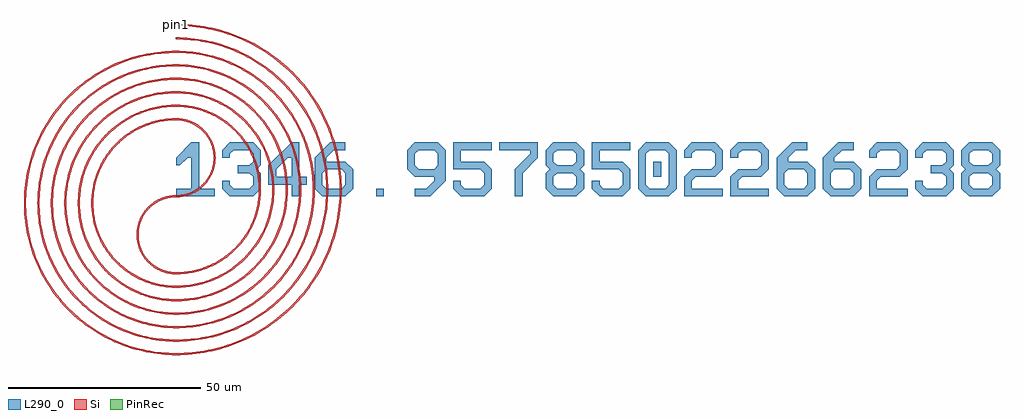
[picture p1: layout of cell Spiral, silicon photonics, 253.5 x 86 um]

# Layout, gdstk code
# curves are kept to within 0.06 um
import gdstk
lib = gdstk.Library(unit=1e-6, precision=1e-09)
def R(c, l, rs):  # rectangles x0, y0, x1, y1
    for r in rs: c.add(gdstk.rectangle(r[:2], r[2:], *l))
def P(c, l, *ps):  # polygons
    for p in ps: c.add(gdstk.Polygon(p, *l))
Si = (1, 0)
PinRec = (1, 10)
L290_0 = (290, 0)

spiral = lib.new_cell('Spiral')
P(spiral, Si, [(0,-0.25),(0,0.25),(1.194,0.323),(2.369,0.542),(3.509,0.903),(4.384,1.291),(5.808,2.169),(7.061,3.277),(8.237,4.784),(9.097,6.491),(9.563,8.098),(9.75,10),(9.563,11.902),(9.097,13.509),(8.237,15.216),(7.061,16.723),(5.808,17.831),(4.384,18.709),(3.509,19.097),(2.369,19.458),(1.194,19.677),(0,19.75),(0,20.25),(1.005,20.201),(2,20.053),(2.975,19.809),(3.923,19.47),(5.695,18.523),(7.248,17.248),(8.523,15.695),(9.47,13.923),(9.809,12.975),(10.053,12),(10.201,11.005),(10.25,10),(10.201,8.995),(10.053,8),(9.809,7.025),(9.47,6.077),(8.523,4.305),(7.248,2.752),(5.695,1.477),(3.923,0.53),(2.975,0.191),(2,-0.053),(1.005,-0.201)],
  [(0,-20.25),(-1.005,-20.201),(-2,-20.053),(-3.923,-19.47),(-5.695,-18.523),(-7.248,-17.248),(-8.523,-15.695),(-9.47,-13.923),(-10.053,-12),(-10.201,-11.005),(-10.25,-10),(-10.201,-8.995),(-10.001,-7.754),(-9.371,-5.846),(-8.792,-4.73),(-8.233,-3.894),(-7.424,-2.932),(-6.695,-2.239),(-5.052,-1.082),(-4.154,-0.629),(-3.215,-0.267),(-1.504,0.139),(0.956,0.297),(2.136,0.487),(3.509,0.903),(4.806,1.517),(6.185,2.463),(7.537,3.815),(8.599,5.404),(9.258,6.942),(9.563,8.098),(9.724,9.283),(9.747,10.239),(9.644,11.431),(9.458,12.369),(9.097,13.509),(8.599,14.596),(7.971,15.614),(7.224,16.548),(6.548,17.224),(5.013,18.363),(3.951,18.914),(2.6,19.397),(1.194,19.677),(0,19.75),(0,20.25),(1.005,20.201),(2,20.053),(3.923,19.47),(5.695,18.523),(7.248,17.248),(8.523,15.695),(9.47,13.923),(10.053,12),(10.201,11.005),(10.25,10),(10.201,8.995),(10.001,7.754),(9.371,5.846),(8.792,4.73),(8.233,3.894),(7.424,2.932),(6.695,2.239),(5.052,1.082),(4.154,0.629),(3.215,0.267),(1.504,-0.139),(-0.956,-0.297),(-2.136,-0.487),(-3.509,-0.903),(-4.806,-1.517),(-6.185,-2.463),(-7.537,-3.815),(-8.599,-5.404),(-9.258,-6.942),(-9.563,-8.098),(-9.724,-9.283),(-9.747,-10.239),(-9.644,-11.431),(-9.458,-12.369),(-9.097,-13.509),(-8.599,-14.596),(-7.971,-15.614),(-7.224,-16.548),(-6.548,-17.224),(-5.013,-18.363),(-3.951,-18.914),(-2.6,-19.397),(-1.194,-19.677),(0,-19.75)],
  [(0,-20.25),(0,-19.75),(2.632,-19.588),(4.711,-19.228),(6.744,-18.665),(8.713,-17.906),(10.597,-16.957),(11.945,-16.127),(13.639,-14.87),(15.203,-13.453),(16.62,-11.889),(17.877,-10.195),(18.961,-8.385),(19.863,-6.478),(20.574,-4.491),(21.087,-2.444),(21.396,-0.357),(21.5,1.75),(21.396,3.857),(21.087,5.944),(20.574,7.991),(19.863,9.978),(18.961,11.885),(17.877,13.695),(16.62,15.389),(15.203,16.953),(13.639,18.37),(11.945,19.627),(10.597,20.457),(8.713,21.406),(6.744,22.165),(4.711,22.728),(2.632,23.088),(0,23.25),(0,23.75),(2.156,23.644),(4.292,23.327),(6.386,22.803),(8.419,22.075),(10.371,21.152),(12.223,20.042),(13.957,18.756),(15.556,17.306),(17.006,15.707),(18.292,13.973),(19.402,12.121),(20.325,10.169),(21.053,8.136),(21.577,6.042),(21.894,3.906),(22,1.75),(21.894,-0.406),(21.577,-2.542),(21.053,-4.636),(20.325,-6.669),(19.402,-8.621),(18.292,-10.473),(17.006,-12.207),(15.556,-13.806),(13.957,-15.256),(12.223,-16.542),(10.371,-17.652),(8.419,-18.575),(6.386,-19.303),(4.292,-19.827),(2.156,-20.144)],
  [(0,-23.75),(-2.156,-23.644),(-4.292,-23.327),(-6.386,-22.803),(-8.419,-22.075),(-10.371,-21.152),(-12.223,-20.042),(-13.957,-18.756),(-15.556,-17.306),(-17.006,-15.707),(-18.292,-13.973),(-19.402,-12.121),(-20.325,-10.169),(-21.053,-8.136),(-21.577,-6.042),(-21.894,-3.906),(-22,-1.75),(-21.894,0.406),(-21.577,2.542),(-21.053,4.636),(-20.325,6.669),(-19.402,8.621),(-18.292,10.473),(-17.006,12.207),(-15.556,13.806),(-13.957,15.256),(-12.223,16.542),(-10.371,17.652),(-8.419,18.575),(-6.386,19.303),(-4.292,19.827),(-2.156,20.144),(0,20.25),(0,19.75),(-2.632,19.588),(-4.711,19.228),(-6.744,18.665),(-8.713,17.906),(-10.597,16.957),(-11.945,16.127),(-13.639,14.87),(-15.203,13.453),(-16.62,11.889),(-17.877,10.195),(-18.961,8.385),(-19.863,6.478),(-20.574,4.491),(-21.087,2.444),(-21.396,0.357),(-21.5,-1.75),(-21.396,-3.857),(-21.087,-5.944),(-20.574,-7.991),(-19.863,-9.978),(-18.961,-11.885),(-17.877,-13.695),(-16.62,-15.389),(-15.203,-16.953),(-13.639,-18.37),(-11.945,-19.627),(-10.597,-20.457),(-8.713,-21.406),(-6.744,-22.165),(-4.711,-22.728),(-2.632,-23.088),(0,-23.25)],
  [(0,-23.75),(0,-23.25),(2.45,-23.13),(5.478,-22.643),(7.842,-21.988),(10.131,-21.105),(12.322,-20.002),(14.395,-18.69),(15.86,-17.575),(17.678,-15.928),(19.325,-14.11),(20.787,-12.139),(22.048,-10.035),(23.097,-7.817),(23.924,-5.507),(24.52,-3.127),(24.88,-0.7),(25,1.75),(24.88,4.2),(24.52,6.627),(23.924,9.007),(23.097,11.317),(22.048,13.535),(20.787,15.639),(19.325,17.61),(17.678,19.428),(15.86,21.075),(14.395,22.19),(12.322,23.502),(10.131,24.605),(7.842,25.488),(5.478,26.143),(2.45,26.63),(0,26.75),(0,27.25),(2.499,27.127),(4.975,26.76),(7.402,26.152),(9.758,25.309),(12.021,24.239),(14.167,22.952),(16.177,21.462),(18.031,19.781),(19.712,17.927),(21.202,15.917),(22.489,13.771),(23.559,11.508),(24.402,9.152),(25.01,6.725),(25.377,4.249),(25.5,1.75),(25.377,-0.749),(25.01,-3.225),(24.402,-5.652),(23.559,-8.008),(22.489,-10.271),(21.202,-12.417),(19.712,-14.427),(18.031,-16.281),(16.177,-17.962),(14.167,-19.452),(12.021,-20.739),(9.758,-21.809),(7.402,-22.652),(4.975,-23.26),(2.499,-23.627)],
  [(0,-27.25),(-2.499,-27.127),(-4.975,-26.76),(-7.402,-26.152),(-9.758,-25.309),(-12.021,-24.239),(-14.167,-22.952),(-16.177,-21.462),(-18.031,-19.781),(-19.712,-17.927),(-21.202,-15.917),(-22.489,-13.771),(-23.559,-11.508),(-24.402,-9.152),(-25.01,-6.725),(-25.377,-4.249),(-25.5,-1.75),(-25.377,0.749),(-25.01,3.225),(-24.402,5.652),(-23.559,8.008),(-22.489,10.271),(-21.202,12.417),(-19.712,14.427),(-18.031,16.281),(-16.177,17.962),(-14.167,19.452),(-12.021,20.739),(-9.758,21.809),(-7.402,22.652),(-4.975,23.26),(-2.499,23.627),(0,23.75),(0,23.25),(-2.45,23.13),(-5.478,22.643),(-7.842,21.988),(-10.131,21.105),(-12.322,20.002),(-14.395,18.69),(-15.86,17.575),(-17.678,15.928),(-19.325,14.11),(-20.787,12.139),(-22.048,10.035),(-23.097,7.817),(-23.924,5.507),(-24.52,3.127),(-24.88,0.7),(-25,-1.75),(-24.88,-4.2),(-24.52,-6.627),(-23.924,-9.007),(-23.097,-11.317),(-22.048,-13.535),(-20.787,-15.639),(-19.325,-17.61),(-17.678,-19.428),(-15.86,-21.075),(-14.395,-22.19),(-12.322,-23.502),(-10.131,-24.605),(-7.842,-25.488),(-5.478,-26.143),(-2.45,-26.63),(0,-26.75)],
  [(0,-27.25),(0,-26.75),(1.398,-26.716),(3.489,-26.536),(6.244,-26.058),(8.94,-25.312),(11.549,-24.305),(13.435,-23.385),(15.834,-21.947),(18.08,-20.281),(20.153,-18.403),(22.031,-16.33),(23.697,-14.084),(25.135,-11.685),(26.331,-9.156),(27.273,-6.523),(27.952,-3.81),(28.363,-1.043),(28.5,1.75),(28.363,4.543),(27.952,7.31),(27.273,10.023),(26.331,12.656),(25.135,15.185),(23.697,17.584),(22.031,19.83),(20.153,21.903),(18.08,23.781),(15.834,25.447),(13.435,26.885),(11.549,27.805),(8.94,28.812),(6.244,29.558),(3.489,30.036),(1.398,30.216),(0,30.25),(0,30.75),(2.842,30.61),(5.658,30.193),(8.418,29.501),(11.098,28.543),(13.671,27.326),(16.112,25.863),(18.397,24.167),(20.506,22.256),(22.417,20.147),(24.113,17.862),(25.576,15.421),(26.793,12.848),(27.751,10.168),(28.443,7.408),(28.86,4.592),(29,1.75),(28.86,-1.092),(28.443,-3.908),(27.751,-6.668),(26.793,-9.348),(25.576,-11.921),(24.113,-14.362),(22.417,-16.647),(20.506,-18.756),(18.397,-20.667),(16.112,-22.363),(13.671,-23.826),(11.098,-25.043),(8.418,-26.001),(5.658,-26.693),(2.842,-27.11)],
  [(0,-30.75),(-2.842,-30.61),(-5.658,-30.193),(-8.418,-29.501),(-11.098,-28.543),(-13.671,-27.326),(-16.112,-25.863),(-18.397,-24.167),(-20.506,-22.256),(-22.417,-20.147),(-24.113,-17.862),(-25.576,-15.421),(-26.793,-12.848),(-27.751,-10.168),(-28.443,-7.408),(-28.86,-4.592),(-29,-1.75),(-28.86,1.092),(-28.443,3.908),(-27.751,6.668),(-26.793,9.348),(-25.576,11.921),(-24.113,14.362),(-22.417,16.647),(-20.506,18.756),(-18.397,20.667),(-16.112,22.363),(-13.671,23.826),(-11.098,25.043),(-8.418,26.001),(-5.658,26.693),(-2.842,27.11),(0,27.25),(0,26.75),(-1.398,26.716),(-3.489,26.536),(-6.244,26.058),(-8.94,25.312),(-11.549,24.305),(-13.435,23.385),(-15.834,21.947),(-18.08,20.281),(-20.153,18.403),(-22.031,16.33),(-23.697,14.084),(-25.135,11.685),(-26.331,9.156),(-27.273,6.523),(-27.952,3.81),(-28.363,1.043),(-28.5,-1.75),(-28.363,-4.543),(-27.952,-7.31),(-27.273,-10.023),(-26.331,-12.656),(-25.135,-15.185),(-23.697,-17.584),(-22.031,-19.83),(-20.153,-21.903),(-18.08,-23.781),(-15.834,-25.447),(-13.435,-26.885),(-11.549,-27.805),(-8.94,-28.812),(-6.244,-29.558),(-3.489,-30.036),(-1.398,-30.216),(0,-30.25)],
  [(0,-30.75),(0,-30.25),(3.137,-30.096),(6.243,-29.635),(8.535,-29.091),(10.038,-28.635),(12.968,-27.505),(15.773,-26.093),(18.426,-24.413),(20.902,-22.481),(22.627,-20.877),(24.736,-18.551),(26.607,-16.028),(28.221,-13.335),(29.564,-10.496),(30.622,-7.539),(31.385,-4.493),(31.846,-1.387),(32,1.75),(31.846,4.887),(31.385,7.993),(30.622,11.039),(29.564,13.996),(28.221,16.835),(26.607,19.528),(24.736,22.051),(22.627,24.377),(20.902,25.981),(18.426,27.913),(15.773,29.593),(12.968,31.005),(10.038,32.135),(8.535,32.591),(6.243,33.135),(3.137,33.596),(0,33.75),(0,34.25),(3.186,34.094),(6.34,33.626),(9.434,32.851),(12.437,31.776),(15.32,30.412),(18.056,28.773),(20.618,26.873),(22.981,24.731),(25.123,22.368),(27.023,19.806),(28.662,17.07),(30.026,14.187),(31.101,11.184),(31.876,8.09),(32.344,4.936),(32.5,1.75),(32.344,-1.436),(31.876,-4.59),(31.101,-7.684),(30.026,-10.687),(28.662,-13.57),(27.023,-16.306),(25.123,-18.868),(22.981,-21.231),(20.618,-23.373),(18.056,-25.273),(15.32,-26.912),(12.437,-28.276),(9.434,-29.351),(6.34,-30.126),(3.186,-30.594)],
  [(0,-34.25),(-3.186,-34.094),(-6.34,-33.626),(-9.434,-32.851),(-12.437,-31.776),(-15.32,-30.412),(-18.056,-28.773),(-20.618,-26.873),(-22.981,-24.731),(-25.123,-22.368),(-27.023,-19.806),(-28.662,-17.07),(-30.026,-14.187),(-31.101,-11.184),(-31.876,-8.09),(-32.344,-4.936),(-32.5,-1.75),(-32.344,1.436),(-31.876,4.59),(-31.101,7.684),(-30.026,10.687),(-28.662,13.57),(-27.023,16.306),(-25.123,18.868),(-22.981,21.231),(-20.618,23.373),(-18.056,25.273),(-15.32,26.912),(-12.437,28.276),(-9.434,29.351),(-6.34,30.126),(-3.186,30.594),(0,30.75),(0,30.25),(-3.137,30.096),(-6.243,29.635),(-8.535,29.091),(-10.038,28.635),(-12.968,27.505),(-15.773,26.093),(-18.426,24.413),(-20.902,22.481),(-22.627,20.877),(-24.736,18.551),(-26.607,16.028),(-28.221,13.335),(-29.564,10.496),(-30.622,7.539),(-31.385,4.493),(-31.846,1.387),(-32,-1.75),(-31.846,-4.887),(-31.385,-7.993),(-30.622,-11.039),(-29.564,-13.996),(-28.221,-16.835),(-26.607,-19.528),(-24.736,-22.051),(-22.627,-24.377),(-20.902,-25.981),(-18.426,-27.913),(-15.773,-29.593),(-12.968,-31.005),(-10.038,-32.135),(-8.535,-32.591),(-6.243,-33.135),(-3.137,-33.596),(0,-33.75)],
  [(0,-34.25),(0,-33.75),(2.612,-33.654),(4.346,-33.483),(6.926,-33.068),(8.626,-32.686),(11.96,-31.675),(14.386,-30.704),(16.735,-29.558),(19.723,-27.767),(22.521,-25.692),(25.102,-23.352),(27.442,-20.771),(29.517,-17.973),(31.308,-14.985),(32.798,-11.835),(33.971,-8.555),(34.818,-5.176),(35.329,-1.73),(35.5,1.75),(35.329,5.23),(34.818,8.676),(33.971,12.055),(32.798,15.335),(31.308,18.485),(29.517,21.473),(27.442,24.271),(25.102,26.852),(22.521,29.192),(19.723,31.267),(16.735,33.058),(14.386,34.204),(11.96,35.175),(8.626,36.186),(6.926,36.568),(4.346,36.983),(2.612,37.154),(0,37.25),(0,37.75),(3.529,37.577),(7.023,37.058),(10.45,36.2),(13.777,35.01),(16.97,33.499),(20.001,31.683),(22.838,29.578),(25.456,27.206),(27.828,24.588),(29.933,21.751),(31.749,18.72),(33.26,15.527),(34.45,12.2),(35.308,8.773),(35.827,5.279),(36,1.75),(35.827,-1.779),(35.308,-5.273),(34.45,-8.7),(33.26,-12.027),(31.749,-15.22),(29.933,-18.251),(27.828,-21.088),(25.456,-23.706),(22.838,-26.078),(20.001,-28.183),(16.97,-29.999),(13.777,-31.51),(10.45,-32.7),(7.023,-33.558),(3.529,-34.077)],
  [(0,-37.75),(-3.529,-37.577),(-7.023,-37.058),(-10.45,-36.2),(-13.777,-35.01),(-16.97,-33.499),(-20.001,-31.683),(-22.838,-29.578),(-25.456,-27.206),(-27.828,-24.588),(-29.933,-21.751),(-31.749,-18.72),(-33.26,-15.527),(-34.45,-12.2),(-35.308,-8.773),(-35.827,-5.279),(-36,-1.75),(-35.827,1.779),(-35.308,5.273),(-34.45,8.7),(-33.26,12.027),(-31.749,15.22),(-29.933,18.251),(-27.828,21.088),(-25.456,23.706),(-22.838,26.078),(-20.001,28.183),(-16.97,29.999),(-13.777,31.51),(-10.45,32.7),(-7.023,33.558),(-3.529,34.077),(0,34.25),(0,33.75),(-2.612,33.654),(-4.346,33.483),(-6.926,33.068),(-8.626,32.686),(-11.96,31.675),(-14.386,30.704),(-16.735,29.558),(-19.723,27.767),(-22.521,25.692),(-25.102,23.352),(-27.442,20.771),(-29.517,17.973),(-31.308,14.985),(-32.798,11.835),(-33.971,8.555),(-34.818,5.176),(-35.329,1.73),(-35.5,-1.75),(-35.329,-5.23),(-34.818,-8.676),(-33.971,-12.055),(-32.798,-15.335),(-31.308,-18.485),(-29.517,-21.473),(-27.442,-24.271),(-25.102,-26.852),(-22.521,-29.192),(-19.723,-31.267),(-16.735,-33.058),(-14.386,-34.204),(-11.96,-35.175),(-8.626,-36.186),(-6.926,-36.568),(-4.346,-36.983),(-2.612,-37.154),(0,-37.25)],
  [(0,-37.75),(0,-37.25),(1.914,-37.203),(4.774,-36.957),(7.609,-36.501),(9.476,-36.081),(12.234,-35.282),(15.804,-33.904),(19.223,-32.183),(22.457,-30.136),(25.474,-27.781),(27.577,-25.827),(30.147,-22.991),(32.427,-19.917),(34.395,-16.634),(36.031,-13.175),(37.321,-9.571),(38.251,-5.859),(38.812,-2.073),(39,1.75),(38.812,5.573),(38.251,9.359),(37.321,13.071),(36.031,16.675),(34.395,20.134),(32.427,23.417),(30.147,26.491),(27.577,29.327),(25.474,31.281),(22.457,33.636),(19.223,35.683),(15.804,37.404),(12.234,38.782),(9.476,39.581),(7.609,40.001),(4.774,40.457),(1.914,40.703),(0,40.75),(0,41.25),(3.872,41.06),(7.706,40.491),(11.466,39.549),(15.116,38.243),(18.62,36.586),(21.945,34.593),(25.059,32.284),(27.931,29.681),(30.534,26.809),(32.843,23.695),(34.836,20.37),(36.493,16.866),(37.799,13.216),(38.741,9.456),(39.31,5.622),(39.5,1.75),(39.31,-2.122),(38.741,-5.956),(37.799,-9.716),(36.493,-13.366),(34.836,-16.87),(32.843,-20.195),(30.534,-23.309),(27.931,-26.181),(25.059,-28.784),(21.945,-31.093),(18.62,-33.086),(15.116,-34.743),(11.466,-36.049),(7.706,-36.991),(3.872,-37.56)],
  [(0,-41.25),(-3.872,-41.06),(-7.706,-40.491),(-11.466,-39.549),(-15.116,-38.243),(-18.62,-36.586),(-21.945,-34.593),(-25.059,-32.284),(-27.931,-29.681),(-30.534,-26.809),(-32.843,-23.695),(-34.836,-20.37),(-36.493,-16.866),(-37.799,-13.216),(-38.741,-9.456),(-39.31,-5.622),(-39.5,-1.75),(-39.31,2.122),(-38.741,5.956),(-37.799,9.716),(-36.493,13.366),(-34.836,16.87),(-32.843,20.195),(-30.534,23.309),(-27.931,26.181),(-25.059,28.784),(-21.945,31.093),(-18.62,33.086),(-15.116,34.743),(-11.466,36.049),(-7.706,36.991),(-3.872,37.56),(0,37.75),(0,37.25),(-1.914,37.203),(-4.774,36.957),(-7.609,36.501),(-9.476,36.081),(-12.234,35.282),(-15.804,33.904),(-19.223,32.183),(-22.457,30.136),(-25.474,27.781),(-27.577,25.827),(-30.147,22.991),(-32.427,19.917),(-34.395,16.634),(-36.031,13.175),(-37.321,9.571),(-38.251,5.859),(-38.812,2.073),(-39,-1.75),(-38.812,-5.573),(-38.251,-9.359),(-37.321,-13.071),(-36.031,-16.675),(-34.395,-20.134),(-32.427,-23.417),(-30.147,-26.491),(-27.577,-29.327),(-25.474,-31.281),(-22.457,-33.636),(-19.223,-35.683),(-15.804,-37.404),(-12.234,-38.782),(-9.476,-39.581),(-7.609,-40.001),(-4.774,-40.457),(-1.914,-40.703),(0,-40.75)],
  [(0,-41.25),(0,-40.75),(3.126,-40.635),(5.202,-40.43),(7.266,-40.124),(10.327,-39.476),(12.337,-38.92),(14.318,-38.266),(17.223,-37.104),(19.108,-36.212),(20.948,-35.229),(22.737,-34.156),(24.472,-32.997),(26.962,-31.103),(28.541,-29.74),(30.052,-28.302),(31.49,-26.791),(32.853,-25.212),(34.136,-23.567),(35.337,-21.862),(36.453,-20.099),(37.482,-18.284),(38.42,-16.421),(39.265,-14.514),(40.016,-12.568),(40.67,-10.587),(41.226,-8.577),(41.683,-6.541),(42.04,-4.486),(42.295,-2.416),(42.449,-0.335),(42.5,1.75),(42.449,3.835),(42.295,5.916),(42.04,7.986),(41.683,10.041),(41.226,12.077),(40.67,14.087),(40.016,16.068),(39.265,18.014),(38.42,19.921),(37.482,21.784),(36.453,23.599),(35.337,25.362),(34.136,27.067),(32.853,28.712),(31.49,30.291),(30.052,31.802),(28.541,33.24),(26.962,34.603),(24.472,36.497),(22.737,37.656),(20.948,38.729),(19.108,39.712),(17.223,40.604),(14.318,41.766),(12.337,42.42),(10.327,42.976),(7.266,43.624),(5.202,43.93),(3.126,44.135),(0,44.25),(0,44.75),(2.11,44.698),(4.215,44.543),(6.309,44.285),(8.389,43.924),(10.448,43.461),(12.482,42.898),(14.486,42.236),(16.455,41.477),(18.385,40.622),(20.27,39.673),(22.106,38.632),(23.89,37.503),(25.615,36.288),(27.279,34.989),(28.877,33.611),(30.406,32.156),(31.861,30.627),(33.239,29.029),(34.538,27.365),(35.753,25.64),(36.882,23.856),(37.923,22.02),(38.872,20.135),(39.727,18.205),(40.486,16.236),(41.148,14.232),(41.711,12.198),(42.174,10.139),(42.535,8.059),(42.793,5.965),(42.948,3.86),(43,1.75),(42.948,-0.36),(42.793,-2.465),(42.535,-4.559),(42.174,-6.639),(41.711,-8.698),(41.148,-10.732),(40.486,-12.736),(39.727,-14.705),(38.872,-16.635),(37.923,-18.52),(36.882,-20.356),(35.753,-22.14),(34.538,-23.865),(33.239,-25.529),(31.861,-27.127),(30.406,-28.656),(28.877,-30.111),(27.279,-31.489),(25.615,-32.788),(23.89,-34.003),(22.106,-35.132),(20.27,-36.173),(18.385,-37.122),(16.455,-37.977),(14.486,-38.736),(12.482,-39.398),(10.448,-39.961),(8.389,-40.424),(6.309,-40.785),(4.215,-41.043),(2.11,-41.198)])
R(spiral, L290_0, [(52,0,54,2), (124,5,126,9)])
P(spiral, L290_0, [(0,0),(0,2),(4,2),(4,10),(3,10),(1,8),(0,8),(0,10),(4,14),(6,14),(6,2),(10,2),(10,0)],
  [(14,0),(12,2),(12,4),(14,4),(14,3),(15,2),(19,2),(20,3),(20,5),(19,6),(16,6),(16,8),(19,8),(20,9),(20,11),(19,12),(15,12),(14,11),(14,10),(12,10),(12,12),(14,14),(20,14),(22,12),(22,8),(21,7),(22,6),(22,2),(20,0)],
  [(30,0),(30,3),(24,3),(24,5),(30,5),(30,10),(29,10),(26,7),(26,5),(24,5),(24,8),(30,14),(32,14),(32,5),(34,5),(34,3),(32,3),(32,0)],
  [(38,0),(36,2),(36,10),(40,14),(44,14),(44,12),(41,12),(39,10),(39,9),(44,9),(46,7),(39,7),(38,6),(38,3),(39,2),(43,2),(44,3),(44,6),(43,7),(46,7),(46,2),(44,0)],
  [(62,0),(62,2),(65,2),(67,4),(67,5),(62,5),(60,7),(67,7),(68,8),(68,11),(67,12),(63,12),(62,11),(62,8),(63,7),(60,7),(60,12),(62,14),(68,14),(70,12),(70,4),(66,0)],
  [(74,0),(72,2),(72,4),(74,4),(74,3),(75,2),(79,2),(80,3),(80,6),(79,7),(72,7),(72,14),(82,14),(82,12),(74,12),(74,9),(80,9),(82,7),(82,2),(80,0)],
  [(88,0),(88,7),(92,11),(92,12),(84,12),(84,14),(94,14),(94,10),(90,6),(90,0)],
  [(98,0),(96,2),(96,6),(97,7),(96,8),(96,12),(98,14),(104,14),(106,12),(99,12),(98,11),(98,9),(99,8),(103,8),(104,9),(104,11),(103,12),(106,12),(106,8),(105,7),(106,6),(99,6),(98,5),(98,3),(99,2),(103,2),(104,3),(104,5),(103,6),(106,6),(106,2),(104,0)],
  [(110,0),(108,2),(108,4),(110,4),(110,3),(111,2),(115,2),(116,3),(116,6),(115,7),(108,7),(108,14),(118,14),(118,12),(110,12),(110,9),(116,9),(118,7),(118,2),(116,0)],
  [(122,0),(120,2),(120,12),(122,14),(128,14),(130,12),(123,12),(122,11),(122,3),(123,2),(127,2),(128,3),(128,11),(127,12),(130,12),(130,2),(128,0)],
  [(132,0),(132,5),(134,7),(139,7),(140,8),(140,11),(139,12),(135,12),(134,11),(134,10),(132,10),(132,12),(134,14),(140,14),(142,12),(142,7),(140,5),(135,5),(134,4),(134,2),(142,2),(142,0)],
  [(144,0),(144,5),(146,7),(151,7),(152,8),(152,11),(151,12),(147,12),(146,11),(146,10),(144,10),(144,12),(146,14),(152,14),(154,12),(154,7),(152,5),(147,5),(146,4),(146,2),(154,2),(154,0)],
  [(158,0),(156,2),(156,10),(160,14),(164,14),(164,12),(161,12),(159,10),(159,9),(164,9),(166,7),(159,7),(158,6),(158,3),(159,2),(163,2),(164,3),(164,6),(163,7),(166,7),(166,2),(164,0)],
  [(170,0),(168,2),(168,10),(172,14),(176,14),(176,12),(173,12),(171,10),(171,9),(176,9),(178,7),(171,7),(170,6),(170,3),(171,2),(175,2),(176,3),(176,6),(175,7),(178,7),(178,2),(176,0)],
  [(180,0),(180,5),(182,7),(187,7),(188,8),(188,11),(187,12),(183,12),(182,11),(182,10),(180,10),(180,12),(182,14),(188,14),(190,12),(190,7),(188,5),(183,5),(182,4),(182,2),(190,2),(190,0)],
  [(194,0),(192,2),(192,4),(194,4),(194,3),(195,2),(199,2),(200,3),(200,5),(199,6),(196,6),(196,8),(199,8),(200,9),(200,11),(199,12),(195,12),(194,11),(194,10),(192,10),(192,12),(194,14),(200,14),(202,12),(202,8),(201,7),(202,6),(202,2),(200,0)],
  [(206,0),(204,2),(204,6),(205,7),(204,8),(204,12),(206,14),(212,14),(214,12),(207,12),(206,11),(206,9),(207,8),(211,8),(212,9),(212,11),(211,12),(214,12),(214,8),(213,7),(214,6),(207,6),(206,5),(206,3),(207,2),(211,2),(212,3),(212,5),(211,6),(214,6),(214,2),(212,0)])
spiral.add(gdstk.FlexPath([(0.05,44.5),(-0.05,44.5)], 0.5, ends="flush", simple_path=True, layer=1, datatype=10))  # PinRec
spiral.add(gdstk.FlexPath([(0.05,41),(-0.05,41)], 0.5, ends="flush", simple_path=True, layer=1, datatype=10))  # PinRec
spiral.add(gdstk.Label('pin1', (0,44.5), layer=1, texttype=10))
spiral.add(gdstk.Label('pin2', (0,41), layer=1, texttype=10))

lib.write_gds('Spiral.gds')
